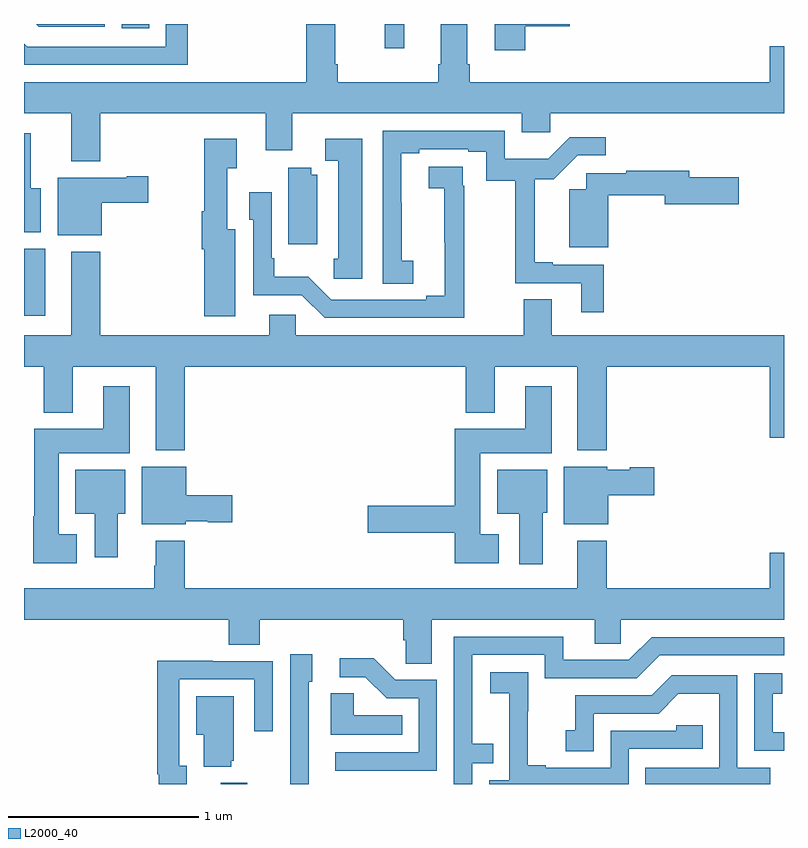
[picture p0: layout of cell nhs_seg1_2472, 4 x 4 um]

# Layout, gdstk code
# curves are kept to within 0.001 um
import gdstk
lib = gdstk.Library(unit=1e-6, precision=1e-09)
def R(c, l, rs):  # rectangles x0, y0, x1, y1
    for r in rs: c.add(gdstk.rectangle(r[:2], r[2:], *l))
def P(c, l, *ps):  # polygons
    for p in ps: c.add(gdstk.Polygon(p, *l))
L2000_40 = (2000, 40)

nhs_seg1_2472 = lib.new_cell('nhs_seg1_2472')
R(nhs_seg1_2472, L2000_40, [(246.035,552.199,246.175,552.205), (245,554.664,245.113,555.016), (246.898,556.071,247.001,556.199), (245.514,556.176,245.66,556.199)])
P(nhs_seg1_2472, L2000_40, [(247.637,556.186),(247.873,556.186),(247.873,556.199),(247.478,556.199),(247.478,556.062),(247.637,556.062)],
  [(245.861,556.199),(245.745,556.199),(245.745,556.08),(245.016,556.08),(245,556.096),(245,555.984),(245.861,555.984)],
  [(245.424,556.199),(245.064,556.199),(245.078,556.185),(245.424,556.185)],
  [(245,555.728),(245.249,555.728),(245.249,555.476),(245.402,555.476),(245.402,555.728),(246.272,555.728),(246.272,555.534),(246.412,555.534),(246.412,555.728),(247.619,555.728),(247.619,555.63),(247.771,555.63),(247.771,555.728),(249,555.728),(249,556.081),(248.924,556.081),(248.924,555.892),(247.346,555.892),(247.346,555.988),(247.333,555.988),(247.333,556.199),(247.193,556.199),(247.193,555.988),(247.181,555.988),(247.181,555.892),(246.65,555.892),(246.65,555.988),(246.637,555.988),(246.637,556.199),(246.485,556.199),(246.485,555.892),(245,555.892)],
  [(248.051,554.931),(247.783,554.931),(247.783,554.944),(247.688,554.944),(247.688,555.381),(247.787,555.381),(247.914,555.507),(248.062,555.507),(248.062,555.603),(247.872,555.603),(247.759,555.49),(247.53,555.49),(247.53,555.636),(246.888,555.636),(246.888,554.833),(247.048,554.833),(247.048,554.953),(246.987,554.953),(246.987,555.257),(246.985,555.257),(246.985,555.52),(247.081,555.52),(247.081,555.54),(247.337,555.54),(247.337,555.526),(247.434,555.526),(247.434,555.373),(247.585,555.373),(247.585,554.835),(247.934,554.835),(247.934,554.682),(248.051,554.682)],
  [(245.089,555.334),(245.035,555.334),(245.035,555.625),(245,555.625),(245,555.104),(245.089,555.104)],
  [(246.112,555.118),(246.07,555.118),(246.07,555.439),(246.121,555.439),(246.121,555.595),(245.948,555.595),(245.948,555.214),(245.936,555.214),(245.936,555.014),(245.948,555.014),(245.948,554.661),(246.112,554.661)],
  [(246.781,555.595),(246.585,555.595),(246.585,555.48),(246.653,555.48),(246.653,554.964),(246.631,554.964),(246.631,554.859),(246.781,554.859)],
  [(247.316,555.347),(247.31,555.347),(247.31,555.449),(247.131,555.449),(247.131,555.334),(247.213,555.334),(247.214,554.768),(247.118,554.768),(247.118,554.748),(246.618,554.748),(246.497,554.869),(246.316,554.869),(246.316,554.965),(246.303,554.965),(246.303,555.313),(246.186,555.313),(246.186,555.168),(246.207,555.168),(246.207,554.772),(246.462,554.772),(246.582,554.652),(247.316,554.652)],
  [(246.544,555.406),(246.512,555.406),(246.512,555.443),(246.392,555.443),(246.392,555.039),(246.544,555.039)],
  [(248.074,555.298),(248.372,555.298),(248.372,555.251),(248.761,555.251),(248.761,555.393),(248.5,555.393),(248.5,555.427),(248.17,555.427),(248.17,555.414),(247.959,555.414),(247.959,555.328),(247.871,555.328),(247.871,555.023),(248.074,555.023)],
  [(245.41,555.257),(245.653,555.257),(245.653,555.399),(245.54,555.399),(245.54,555.391),(245.177,555.391),(245.177,555.086),(245.41,555.086)],
  [(245.846,554.396),(247.325,554.396),(247.325,554.153),(247.477,554.153),(247.477,554.396),(247.913,554.396),(247.913,553.955),(248.066,553.955),(248.066,554.396),(248.924,554.396),(248.924,554.022),(249,554.022),(249,554.56),(247.777,554.56),(247.777,554.75),(247.63,554.75),(247.63,554.56),(246.429,554.56),(246.429,554.67),(246.29,554.67),(246.29,554.56),(245.402,554.56),(245.402,555.001),(245.249,555.001),(245.249,554.56),(245,554.56),(245,554.396),(245.105,554.396),(245.105,554.153),(245.257,554.153),(245.257,554.396),(245.693,554.396),(245.693,553.955),(245.846,553.955)],
  [(245.278,553.513),(245.182,553.513),(245.182,553.94),(245.557,553.94),(245.557,554.293),(245.417,554.293),(245.417,554.068),(245.053,554.068),(245.053,553.609),(245.048,553.609),(245.048,553.361),(245.278,553.361)],
  [(247.498,553.513),(247.402,553.513),(247.402,553.94),(247.777,553.94),(247.777,554.293),(247.637,554.293),(247.637,554.068),(247.268,554.068),(247.268,553.664),(246.81,553.664),(246.81,553.522),(247.268,553.522),(247.268,553.361),(247.498,553.361)],
  [(245.85,553.583),(245.967,553.583),(245.967,553.576),(246.097,553.576),(246.097,553.718),(245.854,553.718),(245.854,553.87),(245.621,553.87),(245.621,553.565),(245.85,553.565)],
  [(248.074,553.718),(248.317,553.718),(248.317,553.865),(248.187,553.865),(248.187,553.852),(248.07,553.852),(248.07,553.87),(247.841,553.87),(247.841,553.565),(248.074,553.565)],
  [(245.494,553.622),(245.533,553.622),(245.533,553.852),(245.27,553.852),(245.27,553.622),(245.372,553.622),(245.372,553.392),(245.494,553.392)],
  [(247.729,553.626),(247.753,553.626),(247.753,553.852),(247.49,553.852),(247.49,553.622),(247.607,553.622),(247.607,553.356),(247.729,553.356)],
  [(247.147,553.064),(248.003,553.064),(248.003,552.937),(248.142,552.937),(248.142,553.064),(249,553.064),(249,553.417),(248.924,553.417),(248.924,553.228),(248.066,553.228),(248.066,553.48),(247.913,553.48),(247.913,553.228),(245.846,553.228),(245.846,553.48),(245.693,553.48),(245.693,553.349),(245.686,553.349),(245.686,553.228),(245,553.228),(245,553.064),(246.077,553.064),(246.077,552.931),(246.242,552.931),(246.242,553.064),(246.995,553.064),(246.995,552.955),(247.008,552.955),(247.008,552.832),(247.147,552.832)],
  [(247.359,552.309),(247.469,552.309),(247.469,552.41),(247.359,552.41),(247.359,552.879),(247.74,552.879),(247.74,552.756),(248.226,552.756),(248.346,552.876),(249,552.876),(249,552.972),(248.304,552.972),(248.184,552.852),(247.837,552.852),(247.837,552.975),(247.263,552.975),(247.263,552.199),(247.359,552.199)],
  [(246.498,552.738),(246.517,552.738),(246.517,552.883),(246.402,552.883),(246.402,552.389),(246.4,552.389),(246.4,552.199),(246.498,552.199)],
  [(247.173,552.747),(246.954,552.747),(246.841,552.86),(246.663,552.86),(246.663,552.762),(246.797,552.762),(246.908,552.651),(247.077,552.651),(247.077,552.366),(246.639,552.366),(246.639,552.27),(247.173,552.27)],
  [(245.857,552.294),(245.817,552.294),(245.817,552.75),(246.213,552.75),(246.213,552.477),(246.309,552.477),(246.309,552.846),(245.993,552.846),(245.993,552.848),(245.701,552.848),(245.701,552.25),(245.709,552.25),(245.709,552.199),(245.857,552.199)],
  [(248.184,552.384),(248.573,552.384),(248.573,552.507),(248.433,552.507),(248.433,552.48),(248.088,552.48),(248.088,552.285),(247.747,552.285),(247.747,552.298),(247.652,552.298),(247.652,552.581),(247.653,552.581),(247.653,552.787),(247.455,552.787),(247.455,552.677),(247.553,552.677),(247.553,552.449),(247.554,552.449),(247.554,552.219),(247.449,552.219),(247.449,552.199),(248.184,552.199)],
  [(249,552.471),(248.941,552.471),(248.941,552.675),(248.99,552.675),(248.99,552.781),(248.844,552.781),(248.844,552.375),(249,552.375)],
  [(248.928,552.285),(248.754,552.285),(248.754,552.771),(248.408,552.771),(248.303,552.666),(247.9,552.666),(247.9,552.481),(247.851,552.481),(247.851,552.372),(247.998,552.372),(247.998,552.57),(248.34,552.57),(248.444,552.674),(248.658,552.674),(248.658,552.285),(248.269,552.285),(248.269,552.199),(248.928,552.199)],
  [(246.992,552.562),(246.735,552.562),(246.735,552.677),(246.614,552.677),(246.614,552.458),(246.992,552.458)],
  [(246.092,552.321),(246.103,552.321),(246.103,552.661),(245.906,552.661),(245.906,552.458),(245.945,552.458),(245.945,552.29),(246.092,552.29)])

lib.write_gds('nhs_seg1_2472.gds')
